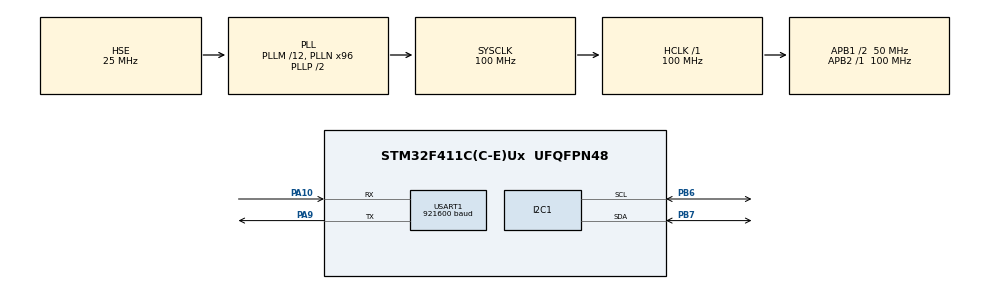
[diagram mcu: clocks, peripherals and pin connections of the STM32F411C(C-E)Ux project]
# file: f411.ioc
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I2C1.I2C_Mode=I2C_Fast
Mcu.Family=STM32F4
Mcu.Name=STM32F411C(C-E)Ux
Mcu.Package=UFQFPN48
NVIC.PriorityGroup=NVIC_PRIORITYGROUP_4
PA10.Mode=Asynchronous
PA10.Signal=USART1_RX
PA13.Mode=Serial_Wire
PA13.Signal=SYS_JTMS-SWDIO
PA14.Mode=Serial_Wire
PA14.Signal=SYS_JTCK-SWCLK
PA9.Mode=Asynchronous
PA9.Signal=USART1_TX
PB6.GPIO_Pu=GPIO_PULLUP
PB6.Mode=I2C
PB6.Signal=I2C1_SCL
PB7.GPIO_Pu=GPIO_PULLUP
PB7.Mode=I2C
PB7.Signal=I2C1_SDA
PH0\ -\ OSC_IN.Mode=HSE-External-Oscillator
PH0\ -\ OSC_IN.Signal=RCC_OSC_IN
PH1\ -\ OSC_OUT.Mode=HSE-External-Oscillator
PH1\ -\ OSC_OUT.Signal=RCC_OSC_OUT
ProjectManager.HeapSize=0x200
ProjectManager.StackSize=0x400
ProjectManager.TargetToolchain=STM32CubeIDE
RCC.48MHZClocksFreq_Value=50000000
RCC.AHBFreq_Value=100000000
RCC.APB1CLKDivider=RCC_HCLK_DIV2
RCC.APB1Freq_Value=50000000
RCC.APB1TimFreq_Value=100000000
RCC.APB2Freq_Value=100000000
RCC.APB2TimFreq_Value=100000000
RCC.CortexFreq_Value=100000000
RCC.HCLKFreq_Value=100000000
RCC.HSE_VALUE=25000000
RCC.HSI_VALUE=16000000
RCC.LSE_VALUE=32768
RCC.PLLM=12
RCC.PLLN=96
RCC.PLLSourceVirtual=RCC_PLLSOURCE_HSE
RCC.SYSCLKFreq_VALUE=100000000
RCC.SYSCLKSource=RCC_SYSCLKSOURCE_PLLCLK
RCC.VCOOutputFreq_Value=200000000
USART1.BaudRate=921600
USART1.VirtualMode=VM_ASYNC
board=custom

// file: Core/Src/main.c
/* USER CODE BEGIN Header */
/**
 ******************************************************************************
 * @file           : main.c
 * @brief          : Main program body
 ******************************************************************************
 * @attention
 *
 * Copyright (c) 2024 Lars Boegild Thomsen <lbthomsen@gmail.com>
 * All rights reserved.
 *
 * This software is licensed under terms that can be found in the LICENSE file
 * in the root directory of this software component.
 * If no LICENSE file comes with this software, it is provided AS-IS.
 *
 ******************************************************************************
 */
/* USER CODE END Header */
#include "main.h"

I2C_HandleTypeDef hi2c1;

UART_HandleTypeDef huart1;

void SystemClock_Config(void);
static void MX_GPIO_Init(void);
static void MX_I2C1_Init(void);
static void MX_USART1_UART_Init(void);

/* USER CODE BEGIN 0 */

// Send printf to uart1
int _write(int fd, char *ptr, int len) {
    HAL_StatusTypeDef hstatus;

    if (fd == 1 || fd == 2) {
        hstatus = HAL_UART_Transmit(&huart1, (uint8_t*) ptr, len, HAL_MAX_DELAY);
        if (hstatus == HAL_OK)
            return len;
        else
            return -1;
    }
    return -1;
}

/* USER CODE END 0 */

int main(void)
{

  /* MCU Configuration--------------------------------------------------------*/

  /* Reset of all peripherals, Initializes the Flash interface and the Systick. */
  HAL_Init();

  /* Configure the system clock */
  SystemClock_Config();

  /* Initialize all configured peripherals */
  MX_GPIO_Init();
  MX_I2C1_Init();
  MX_USART1_UART_Init();
  /* USER CODE BEGIN 2 */

    printf("\n\n\n--------\nStarting\n");

    printf("Scan i2c2\n");
    // Go through all possible i2c addresses
    for (uint8_t i = 0; i < 128; i++) {

        if (HAL_I2C_IsDeviceReady(&hi2c1, (uint16_t) (i << 1), 3, HAL_MAX_DELAY) == HAL_OK) {
            // We got an ack
            printf("%2x ", i);
        } else {
            // No ack
            printf("-- ");
        }

        // Throw in a enw line every 16 values but not the first
        if (i > 0 && (i + 1) % 16 == 0)
            printf("\n");

    }

    printf("\n");

  /* USER CODE END 2 */

  /* Infinite loop */
  /* USER CODE BEGIN WHILE */
    uint32_t now = 0, loop_cnt = 0, next_tick = 1000;

    while (1) {

        now = uwTick;

        if (now >= next_tick) {

            printf("Tick %lu (loop = %lu)\n", now / 1000, loop_cnt);

            loop_cnt = 0;
            next_tick = now + 1000;

        }

        ++loop_cnt;

    /* USER CODE END WHILE */

    }
}

void SystemClock_Config(void)
{
  RCC_OscInitTypeDef RCC_OscInitStruct = {0};
  RCC_ClkInitTypeDef RCC_ClkInitStruct = {0};

  /** Configure the main internal regulator output voltage
  */
  __HAL_RCC_PWR_CLK_ENABLE();
  __HAL_PWR_VOLTAGESCALING_CONFIG(PWR_REGULATOR_VOLTAGE_SCALE1);

  /** Initializes the RCC Oscillators according to the specified parameters
  * in the RCC_OscInitTypeDef structure.
  */
  RCC_OscInitStruct.OscillatorType = RCC_OSCILLATORTYPE_HSE;
  RCC_OscInitStruct.HSEState = RCC_HSE_ON;
  RCC_OscInitStruct.PLL.PLLState = RCC_PLL_ON;
  RCC_OscInitStruct.PLL.PLLSource = RCC_PLLSOURCE_HSE;
  RCC_OscInitStruct.PLL.PLLM = 12;
  RCC_OscInitStruct.PLL.PLLN = 96;
  RCC_OscInitStruct.PLL.PLLP = RCC_PLLP_DIV2;
  RCC_OscInitStruct.PLL.PLLQ = 4;
  if (HAL_RCC_OscConfig(&RCC_OscInitStruct) != HAL_OK)
  {
    Error_Handler();
  }

  /** Initializes the CPU, AHB and APB buses clocks
  */
  RCC_ClkInitStruct.ClockType = RCC_CLOCKTYPE_HCLK|RCC_CLOCKTYPE_SYSCLK
                              |RCC_CLOCKTYPE_PCLK1|RCC_CLOCKTYPE_PCLK2;
  RCC_ClkInitStruct.SYSCLKSource = RCC_SYSCLKSOURCE_PLLCLK;
  RCC_ClkInitStruct.AHBCLKDivider = RCC_SYSCLK_DIV1;
  RCC_ClkInitStruct.APB1CLKDivider = RCC_HCLK_DIV2;
  RCC_ClkInitStruct.APB2CLKDivider = RCC_HCLK_DIV1;

  if (HAL_RCC_ClockConfig(&RCC_ClkInitStruct, FLASH_LATENCY_3) != HAL_OK)
  {
    Error_Handler();
  }
}

static void MX_I2C1_Init(void)
{

  hi2c1.Instance = I2C1;
  hi2c1.Init.ClockSpeed = 400000;
  hi2c1.Init.DutyCycle = I2C_DUTYCYCLE_2;
  hi2c1.Init.OwnAddress1 = 0;
  hi2c1.Init.AddressingMode = I2C_ADDRESSINGMODE_7BIT;
  hi2c1.Init.DualAddressMode = I2C_DUALADDRESS_DISABLE;
  hi2c1.Init.OwnAddress2 = 0;
  hi2c1.Init.GeneralCallMode = I2C_GENERALCALL_DISABLE;
  hi2c1.Init.NoStretchMode = I2C_NOSTRETCH_DISABLE;
  if (HAL_I2C_Init(&hi2c1) != HAL_OK)
  {
    Error_Handler();
  }

}

static void MX_USART1_UART_Init(void)
{

  huart1.Instance = USART1;
  huart1.Init.BaudRate = 921600;
  huart1.Init.WordLength = UART_WORDLENGTH_8B;
  huart1.Init.StopBits = UART_STOPBITS_1;
  huart1.Init.Parity = UART_PARITY_NONE;
  huart1.Init.Mode = UART_MODE_TX_RX;
  huart1.Init.HwFlowCtl = UART_HWCONTROL_NONE;
  huart1.Init.OverSampling = UART_OVERSAMPLING_16;
  if (HAL_UART_Init(&huart1) != HAL_OK)
  {
    Error_Handler();
  }

}

static void MX_GPIO_Init(void)
{

  /* GPIO Ports Clock Enable */
  __HAL_RCC_GPIOH_CLK_ENABLE();
  __HAL_RCC_GPIOA_CLK_ENABLE();
  __HAL_RCC_GPIOB_CLK_ENABLE();

}

void Error_Handler(void)
{
    __disable_irq();
    while (1)
    {
    }
}
